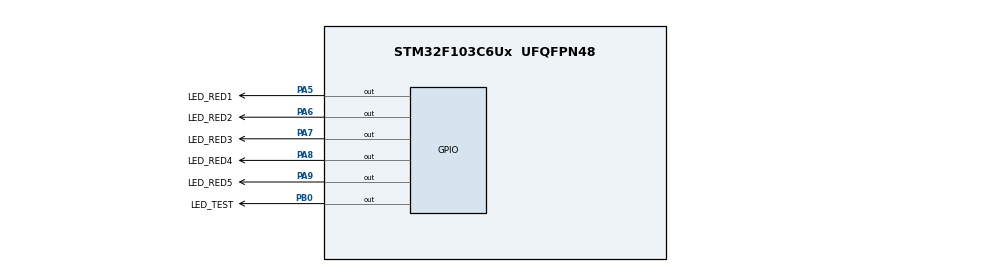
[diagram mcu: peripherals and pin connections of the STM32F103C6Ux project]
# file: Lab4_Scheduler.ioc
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Mcu.Family=STM32F1
Mcu.Name=STM32F103C6Ux
Mcu.Package=UFQFPN48
NVIC.PriorityGroup=NVIC_PRIORITYGROUP_4
NVIC.TIM2_IRQn=true\:0\:0\:false\:false\:true\:true\:true\:true
PA5.GPIO_Label=LED_RED1
PA5.Signal=GPIO_Output
PA6.GPIO_Label=LED_RED2
PA6.Signal=GPIO_Output
PA7.GPIO_Label=LED_RED3
PA7.Signal=GPIO_Output
PA8.GPIO_Label=LED_RED4
PA8.Signal=GPIO_Output
PA9.GPIO_Label=LED_RED5
PA9.Signal=GPIO_Output
PB0.GPIO_Label=LED_TEST
PB0.Signal=GPIO_Output
ProjectManager.HeapSize=0x200
ProjectManager.StackSize=0x400
ProjectManager.TargetToolchain=STM32CubeIDE
RCC.APB1Freq_Value=8000000
RCC.APB2Freq_Value=8000000
TIM2.Period=10
TIM2.Prescaler=7999
VP_SYS_VS_ND.Mode=No_Debug
VP_TIM2_VS_ClockSourceINT.Mode=Internal
board=custom

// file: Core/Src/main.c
/* USER CODE BEGIN Header */
/**
  ******************************************************************************
  * @file           : main.c
  * @brief          : Main program body
  ******************************************************************************
  * @attention
  *
  * <h2><center>&copy; Copyright (c) 2022 STMicroelectronics.
  * All rights reserved.</center></h2>
  *
  * This software component is licensed by ST under BSD 3-Clause license,
  * the "License"; You may not use this file except in compliance with the
  * License. You may obtain a copy of the License at:
  *                        opensource.org/licenses/BSD-3-Clause
  *
  ******************************************************************************
  */
/* USER CODE END Header */
#include "main.h"
#include "timer.h"

/* USER CODE BEGIN Includes */
#include "scheduler.h"

/* USER CODE END Includes */

TIM_HandleTypeDef htim2;

void SystemClock_Config(void);
static void MX_TIM2_Init(void);
static void MX_GPIO_Init(void);

/* USER CODE BEGIN 0 */
void ToggleLed1(){
	HAL_GPIO_TogglePin(LED_RED1_GPIO_Port, LED_RED1_Pin);
}
void ToggleLed2(){
	HAL_GPIO_TogglePin(LED_RED2_GPIO_Port, LED_RED2_Pin);
}
void ToggleLed3(){
	HAL_GPIO_TogglePin(LED_RED3_GPIO_Port, LED_RED3_Pin);
}
void ToggleLed4(){
	HAL_GPIO_TogglePin(LED_RED4_GPIO_Port, LED_RED4_Pin);
}
void ToggleLed5(){
	HAL_GPIO_TogglePin(LED_RED5_GPIO_Port, LED_RED5_Pin);
}

void oneshot() {
	HAL_GPIO_TogglePin(LED_TEST_GPIO_Port, LED_TEST_Pin);
}
/* USER CODE END 0 */

int main(void)
{

  /* MCU Configuration--------------------------------------------------------*/

  /* Reset of all peripherals, Initializes the Flash interface and the Systick. */
  HAL_Init();

  /* Configure the system clock */
  SystemClock_Config();

  /* Initialize all configured peripherals */
  MX_TIM2_Init();
  MX_GPIO_Init();
  /* USER CODE BEGIN 2 */
  HAL_TIM_Base_Start_IT(&htim2);
  SCH_Init();
//  SCH_Add_Task(led1test,50,50);
//  SCH_Add_Task(led2test,60,100);
//  SCH_Add_Task(led3test,70,150);
//  SCH_Add_Task(led4test,80,200);
//  SCH_Add_Task(led5test,200,0);
  	int timerCycle = 10;
    SCH_Add_Task(ToggleLed1, 0, 500/timerCycle);

    SCH_Add_Task(ToggleLed2, 5, 1000/timerCycle);

    SCH_Add_Task(ToggleLed3, 10, 1500/timerCycle);

    SCH_Add_Task(ToggleLed4, 15, 2000/timerCycle);

    SCH_Add_Task(ToggleLed5, 20, 2500/timerCycle);

    SCH_Add_Task(oneshot, 1000, 0);
  /* USER CODE END 2 */

  /* Infinite loop */
  /* USER CODE BEGIN WHILE */
  while (1)
  {
	  SCH_Dispatch_Tasks();

    /* USER CODE END WHILE */

  }
}

void SystemClock_Config(void)
{
  RCC_OscInitTypeDef RCC_OscInitStruct = {0};
  RCC_ClkInitTypeDef RCC_ClkInitStruct = {0};

  /** Initializes the RCC Oscillators according to the specified parameters
  * in the RCC_OscInitTypeDef structure.
  */
  RCC_OscInitStruct.OscillatorType = RCC_OSCILLATORTYPE_HSI;
  RCC_OscInitStruct.HSIState = RCC_HSI_ON;
  RCC_OscInitStruct.HSICalibrationValue = RCC_HSICALIBRATION_DEFAULT;
  RCC_OscInitStruct.PLL.PLLState = RCC_PLL_NONE;
  if (HAL_RCC_OscConfig(&RCC_OscInitStruct) != HAL_OK)
  {
    Error_Handler();
  }
  /** Initializes the CPU, AHB and APB buses clocks
  */
  RCC_ClkInitStruct.ClockType = RCC_CLOCKTYPE_HCLK|RCC_CLOCKTYPE_SYSCLK
                              |RCC_CLOCKTYPE_PCLK1|RCC_CLOCKTYPE_PCLK2;
  RCC_ClkInitStruct.SYSCLKSource = RCC_SYSCLKSOURCE_HSI;
  RCC_ClkInitStruct.AHBCLKDivider = RCC_SYSCLK_DIV1;
  RCC_ClkInitStruct.APB1CLKDivider = RCC_HCLK_DIV1;
  RCC_ClkInitStruct.APB2CLKDivider = RCC_HCLK_DIV1;

  if (HAL_RCC_ClockConfig(&RCC_ClkInitStruct, FLASH_LATENCY_0) != HAL_OK)
  {
    Error_Handler();
  }
}

static void MX_TIM2_Init(void)
{

  TIM_ClockConfigTypeDef sClockSourceConfig = {0};
  TIM_MasterConfigTypeDef sMasterConfig = {0};

  htim2.Instance = TIM2;
  htim2.Init.Prescaler = 7999;
  htim2.Init.CounterMode = TIM_COUNTERMODE_UP;
  htim2.Init.Period = 10;
  htim2.Init.ClockDivision = TIM_CLOCKDIVISION_DIV1;
  htim2.Init.AutoReloadPreload = TIM_AUTORELOAD_PRELOAD_DISABLE;
  if (HAL_TIM_Base_Init(&htim2) != HAL_OK)
  {
    Error_Handler();
  }
  sClockSourceConfig.ClockSource = TIM_CLOCKSOURCE_INTERNAL;
  if (HAL_TIM_ConfigClockSource(&htim2, &sClockSourceConfig) != HAL_OK)
  {
    Error_Handler();
  }
  sMasterConfig.MasterOutputTrigger = TIM_TRGO_RESET;
  sMasterConfig.MasterSlaveMode = TIM_MASTERSLAVEMODE_DISABLE;
  if (HAL_TIMEx_MasterConfigSynchronization(&htim2, &sMasterConfig) != HAL_OK)
  {
    Error_Handler();
  }

}

static void MX_GPIO_Init(void)
{
  GPIO_InitTypeDef GPIO_InitStruct = {0};

  /* GPIO Ports Clock Enable */
  __HAL_RCC_GPIOA_CLK_ENABLE();
  __HAL_RCC_GPIOB_CLK_ENABLE();

  /*Configure GPIO pin Output Level */
  HAL_GPIO_WritePin(GPIOA, LED_RED1_Pin|LED_RED2_Pin|LED_RED3_Pin|LED_RED4_Pin
                          |LED_RED5_Pin, GPIO_PIN_RESET);

  /*Configure GPIO pin Output Level */
  HAL_GPIO_WritePin(LED_TEST_GPIO_Port, LED_TEST_Pin, GPIO_PIN_RESET);

  /*Configure GPIO pins : LED_RED1_Pin LED_RED2_Pin LED_RED3_Pin LED_RED4_Pin
                           LED_RED5_Pin */
  GPIO_InitStruct.Pin = LED_RED1_Pin|LED_RED2_Pin|LED_RED3_Pin|LED_RED4_Pin
                          |LED_RED5_Pin;
  GPIO_InitStruct.Mode = GPIO_MODE_OUTPUT_PP;
  GPIO_InitStruct.Pull = GPIO_NOPULL;
  GPIO_InitStruct.Speed = GPIO_SPEED_FREQ_LOW;
  HAL_GPIO_Init(GPIOA, &GPIO_InitStruct);

  /*Configure GPIO pin : LED_TEST_Pin */
  GPIO_InitStruct.Pin = LED_TEST_Pin;
  GPIO_InitStruct.Mode = GPIO_MODE_OUTPUT_PP;
  GPIO_InitStruct.Pull = GPIO_NOPULL;
  GPIO_InitStruct.Speed = GPIO_SPEED_FREQ_LOW;
  HAL_GPIO_Init(LED_TEST_GPIO_Port, &GPIO_InitStruct);

}

/* USER CODE BEGIN 4 */

void HAL_TIM_PeriodElapsedCallback(TIM_HandleTypeDef *htim){
	timer_run();
	SCH_Update();
}

/* USER CODE END 4 */

void Error_Handler(void)
{
  __disable_irq();
  while (1)
  {
  }
}

/************************ (C) COPYRIGHT STMicroelectronics *****END OF FILE****/
